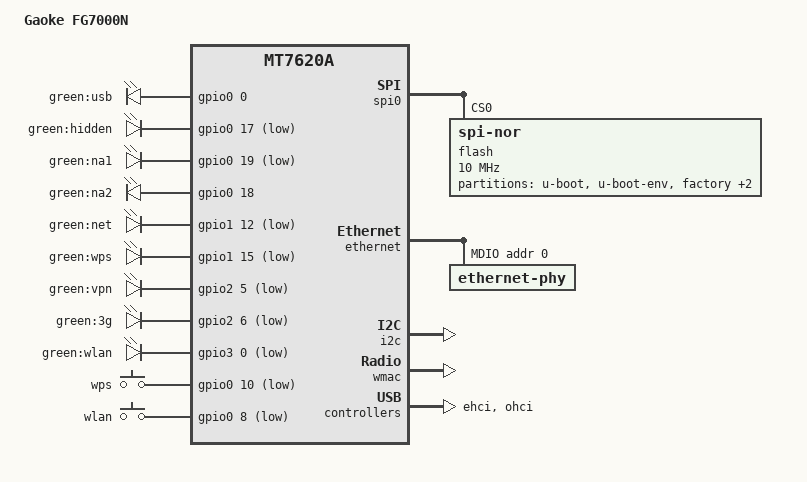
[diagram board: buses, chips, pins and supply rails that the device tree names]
// SPDX-License-Identifier: GPL-2.0-or-later OR MIT

#include "mt7620a.dtsi"

#include <dt-bindings/gpio/gpio.h>
#include <dt-bindings/input/input.h>

/ {
	compatible = "gaoke,fg7000n", "ralink,mt7620a-soc";
	model = "Gaoke FG7000N";

	chosen {
		bootargs = "console=ttyS0,115200";
	};

	aliases {
		led-boot = &led_na1;
		led-failsafe = &led_na2;
		led-running = &led_na1;
		led-upgrade = &led_na2;
	};

	leds {
		compatible = "gpio-leds";

		usb {
			label = "green:usb";
			gpios = <&gpio0 0 GPIO_ACTIVE_HIGH>;
			trigger-sources = <&ohci_port1>, <&ehci_port1>;
			linux,default-trigger = "usbport";
		};

		hidden {
			label = "green:hidden";
			gpios = <&gpio0 17 GPIO_ACTIVE_LOW>;
		};

		led_na1: na1 {
			label = "green:na1";
			gpios = <&gpio0 19 GPIO_ACTIVE_LOW>;
		};

		led_na2: na2 {
			label = "green:na2";
			gpios = <&gpio0 18 GPIO_ACTIVE_HIGH>;
		};

		net {
			label = "green:net";
			gpios = <&gpio1 12 GPIO_ACTIVE_LOW>;
		};

		wps {
			label = "green:wps";
			gpios = <&gpio1 15 GPIO_ACTIVE_LOW>;
		};

		vpn {
			label = "green:vpn";
			gpios = <&gpio2 5 GPIO_ACTIVE_LOW>;
		};

		3g {
			label = "green:3g";
			gpios = <&gpio2 6 GPIO_ACTIVE_LOW>;
		};

		wlan {
			label = "green:wlan";
			gpios = <&gpio3 0 GPIO_ACTIVE_LOW>;
			linux,default-trigger = "phy0tpt";
		};
	};

	keys {
		compatible = "gpio-keys";

		wps {
			label = "wps";
			gpios = <&gpio0 10 GPIO_ACTIVE_LOW>;
			linux,code = <KEY_WPS_BUTTON>;
		};

		wlan {
			label = "wlan";
			gpios = <&gpio0 8 GPIO_ACTIVE_LOW>;
			linux,code = <KEY_RFKILL>;
		};
	};
};

&spi0 {
	status = "okay";

	flash@0 {
		compatible = "jedec,spi-nor";
		reg = <0>;
		spi-max-frequency = <10000000>;

		partitions {
			compatible = "fixed-partitions";
			#address-cells = <1>;
			#size-cells = <1>;

			partition@0 {
				label = "u-boot";
				reg = <0x0 0x30000>;
				read-only;
			};

			partition@30000 {
				label = "u-boot-env";
				reg = <0x30000 0x10000>;
				read-only;
			};

			partition@40000 {
				label = "factory";
				reg = <0x40000 0x10000>;
				read-only;

				nvmem-layout {
					compatible = "fixed-layout";
					#address-cells = <1>;
					#size-cells = <1>;

					eeprom_factory_0: eeprom@0 {
						reg = <0x0 0x200>;
					};

					macaddr_factory_4: macaddr@4 {
						reg = <0x4 0x6>;
					};
				};
			};

			partition@50000 {
				label = "config";
				reg = <0x50000 0x10000>;
				read-only;
			};

			partition@60000 {
				compatible = "denx,uimage";
				label = "firmware";
				reg = <0x60000 0x1FA0000>;
			};
		};
	};
};

&ethernet {
	pinctrl-names = "default";
	pinctrl-0 = <&rgmii1_pins &mdio_pins>;

	nvmem-cells = <&macaddr_factory_4>;
	nvmem-cell-names = "mac-address";

	port@5 {
		status = "okay";

		phy-mode = "rgmii";
		mediatek,fixed-link = <1000 1 1 1>;
	};

	mdio-bus {
		status = "okay";

		ethernet-phy@0 {
			reg = <0>;
			phy-mode = "rgmii";

			qca,ar8327-initvals = <
				0x04 0x06600000 // PORT0_PAD_CTRL
				0x0c 0x00000080 // PORT6_PAD_CTRL
				0x7c 0x0000007e // PORT0_STATUS
				0x80 0x00001280 // PORT1_STATUS
				0x84 0x00001280 // PORT2_STATUS
				0x88 0x00001280 // PORT3_STATUS
				0x8c 0x00001280 // PORT4_STATUS
				0x90 0x00001280 // PORT5_STATUS
				0x94 0x0000037e // PORT6_STATUS
				0xe0 0xc70167de // SGMII_CTRL
			>;
		};
	};
};

&i2c {
	status = "okay";
};

&gsw {
	mediatek,ephy-base = /bits/ 8 <8>;
};

&wmac {
	pinctrl-names = "default", "pa_gpio";
	pinctrl-0 = <&pa_pins>;
	pinctrl-1 = <&pa_gpio_pins>;

	nvmem-cells = <&eeprom_factory_0>;
	nvmem-cell-names = "eeprom";
};

&ehci {
	status = "okay";
};

&ohci {
	status = "okay";
};

&gpio0 {
	status = "okay";
};

&gpio1 {
	status = "okay";
};

&gpio2 {
	status = "okay";
};

&gpio3 {
	status = "okay";
};
